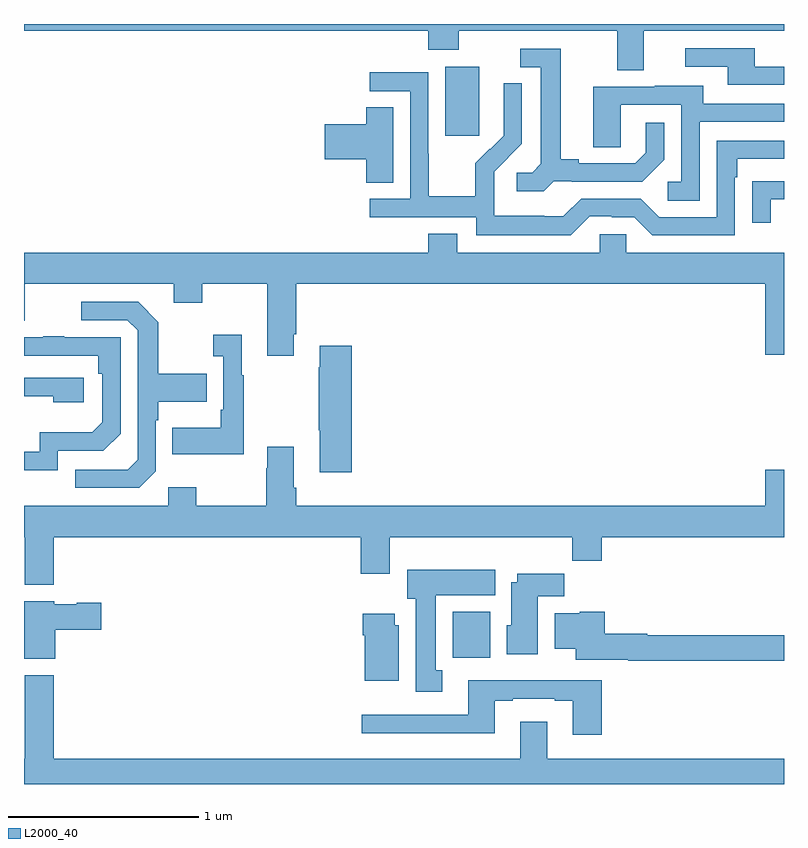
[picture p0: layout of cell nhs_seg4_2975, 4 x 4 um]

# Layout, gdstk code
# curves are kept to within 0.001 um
import gdstk
lib = gdstk.Library(unit=1e-6, precision=1e-09)
def R(c, l, rs):  # rectangles x0, y0, x1, y1
    for r in rs: c.add(gdstk.rectangle(r[:2], r[2:], *l))
def P(c, l, *ps):  # polygons
    for p in ps: c.add(gdstk.Polygon(p, *l))
L2000_40 = (2000, 40)

nhs_seg4_2975 = lib.new_cell('nhs_seg4_2975')
R(nhs_seg4_2975, L2000_40, [(271.256,749.564,271.453,749.806), (271.217,752.313,271.396,752.674)])
P(nhs_seg4_2975, L2000_40, [(272.263,752.864),(273,752.864),(273,752.9),(269,752.9),(269,752.864),(271.127,752.864),(271.127,752.765),(271.287,752.765),(271.287,752.864),(272.123,752.864),(272.123,752.656),(272.263,752.656)],
  [(273,752.676),(272.845,752.676),(272.845,752.772),(272.481,752.772),(272.481,752.676),(272.705,752.676),(272.705,752.58),(273,752.58)],
  [(271.788,752.073),(271.882,752.073),(271.882,752.07),(272.254,752.07),(272.37,752.186),(272.37,752.38),(272.273,752.38),(272.273,752.223),(272.216,752.166),(271.921,752.166),(271.921,752.189),(271.825,752.189),(271.825,752.769),(271.611,752.769),(271.611,752.673),(271.721,752.673),(271.721,752.165),(271.674,752.118),(271.593,752.118),(271.593,752.021),(271.736,752.021)],
  [(271.977,751.887),(272.093,751.887),(272.093,751.884),(272.211,751.884),(272.307,751.788),(272.742,751.788),(272.742,752.093),(272.755,752.093),(272.755,752.19),(273,752.19),(273,752.286),(272.646,752.286),(272.646,751.884),(272.343,751.884),(272.247,751.98),(271.932,751.98),(271.839,751.887),(271.739,751.887),(271.739,751.891),(271.476,751.891),(271.476,752.025),(271.474,752.025),(271.474,752.122),(271.62,752.27),(271.62,752.588),(271.524,752.588),(271.524,752.434),(271.526,752.434),(271.526,752.312),(271.455,752.241),(271.452,752.244),(271.375,752.167),(271.375,751.993),(271.131,751.993),(271.131,752.216),(271.128,752.216),(271.128,752.646),(270.819,752.646),(270.819,752.547),(271.032,752.547),(271.032,751.98),(270.819,751.98),(270.819,751.884),(271.38,751.884),(271.38,751.787),(271.877,751.787)],
  [(272.556,752.385),(273,752.385),(273,752.481),(272.575,752.481),(272.575,752.575),(272.321,752.575),(272.321,752.571),(271.997,752.571),(271.997,752.251),(272.142,752.251),(272.142,752.475),(272.46,752.475),(272.46,752.07),(272.388,752.07),(272.388,751.969),(272.556,751.969)],
  [(270.943,752.462),(270.8,752.462),(270.8,752.372),(270.582,752.372),(270.582,752.189),(270.8,752.189),(270.8,752.065),(270.943,752.065)],
  [(272.929,751.977),(273,751.977),(273,752.073),(272.935,752.073),(272.935,752.072),(272.833,752.072),(272.833,751.854),(272.929,751.854)],
  [(270.421,751.267),(270.434,751.267),(270.434,751.532),(272.9,751.532),(272.9,751.158),(273,751.158),(273,751.696),(272.169,751.696),(272.169,751.794),(272.031,751.794),(272.031,751.696),(271.279,751.696),(271.279,751.795),(271.127,751.795),(271.127,751.696),(269,751.696),(269,751.338),(269.005,751.338),(269.005,751.532),(269.789,751.532),(269.789,751.433),(269.937,751.433),(269.937,751.532),(270.281,751.532),(270.281,751.155),(270.421,751.155)],
  [(269.694,750.546),(269.694,750.815),(269.707,750.815),(269.707,750.911),(269.963,750.911),(269.963,751.059),(269.707,751.059),(269.707,751.331),(269.601,751.437),(269.301,751.437),(269.301,751.341),(269.544,751.341),(269.598,751.287),(269.598,750.606),(269.547,750.555),(269.271,750.555),(269.271,750.459),(269.607,750.459)],
  [(270.157,751.051),(270.145,751.051),(270.145,751.264),(269.997,751.264),(269.997,751.151),(270.048,751.151),(270.048,750.871),(270.036,750.871),(270.036,750.775),(269.779,750.775),(269.779,750.635),(270.157,750.635)],
  [(269.178,750.654),(269.418,750.654),(269.508,750.744),(269.508,751.251),(269.213,751.251),(269.213,751.256),(269.101,751.256),(269.101,751.251),(269,751.251),(269,751.155),(269.392,751.155),(269.392,751.058),(269.412,751.058),(269.412,750.804),(269.359,750.751),(269.082,750.751),(269.082,750.648),(269,750.648),(269,750.552),(269.178,750.552)],
  [(270.725,751.207),(270.557,751.207),(270.557,751.094),(270.55,751.094),(270.55,750.763),(270.557,750.763),(270.557,750.54),(270.725,750.54)],
  [(269.314,751.038),(269,751.038),(269,750.942),(269.153,750.942),(269.153,750.908),(269.314,750.908)],
  [(269.156,750.2),(270.773,750.2),(270.773,750.006),(270.925,750.006),(270.925,750.2),(271.885,750.2),(271.885,750.076),(272.042,750.076),(272.042,750.2),(273,750.2),(273,750.553),(272.9,750.553),(272.9,750.364),(270.434,750.364),(270.434,750.46),(270.421,750.46),(270.421,750.676),(270.281,750.676),(270.281,750.563),(270.274,750.563),(270.274,750.364),(269.907,750.364),(269.907,750.463),(269.76,750.463),(269.76,750.364),(269,750.364),(269,750.2),(269.003,750.2),(269.003,749.948),(269.156,749.948)],
  [(271.201,749.498),(271.168,749.498),(271.168,749.894),(271.48,749.894),(271.48,750.028),(271.016,750.028),(271.016,749.874),(271.061,749.874),(271.061,749.385),(271.201,749.385)],
  [(271.705,749.888),(271.844,749.888),(271.844,750.007),(271.595,750.007),(271.595,749.962),(271.565,749.962),(271.565,749.736),(271.541,749.736),(271.541,749.582),(271.705,749.582)],
  [(269.164,749.711),(269.407,749.711),(269.407,749.853),(269.277,749.853),(269.277,749.845),(269.16,749.845),(269.16,749.863),(269,749.863),(269,749.558),(269.164,749.558)],
  [(273,749.684),(272.28,749.684),(272.28,749.692),(272.057,749.692),(272.057,749.806),(271.926,749.806),(271.926,749.8),(271.793,749.8),(271.793,749.612),(271.904,749.612),(271.904,749.555),(272.18,749.555),(272.18,749.548),(273,749.548)],
  [(270.973,749.736),(270.952,749.736),(270.952,749.797),(270.782,749.797),(270.782,749.684),(270.794,749.684),(270.794,749.444),(270.973,749.444)],
  [(273,749.032),(271.753,749.032),(271.753,749.227),(271.613,749.227),(271.613,749.032),(269.156,749.032),(269.156,749.473),(269.003,749.473),(269.003,749.032),(269,749.032),(269,748.9),(273,748.9)],
  [(272.042,749.446),(271.337,749.446),(271.337,749.265),(270.777,749.265),(270.777,749.168),(271.477,749.168),(271.477,749.337),(271.573,749.337),(271.573,749.349),(271.793,749.349),(271.793,749.337),(271.889,749.337),(271.889,749.16),(272.042,749.16)])

lib.write_gds('nhs_seg4_2975.gds')
